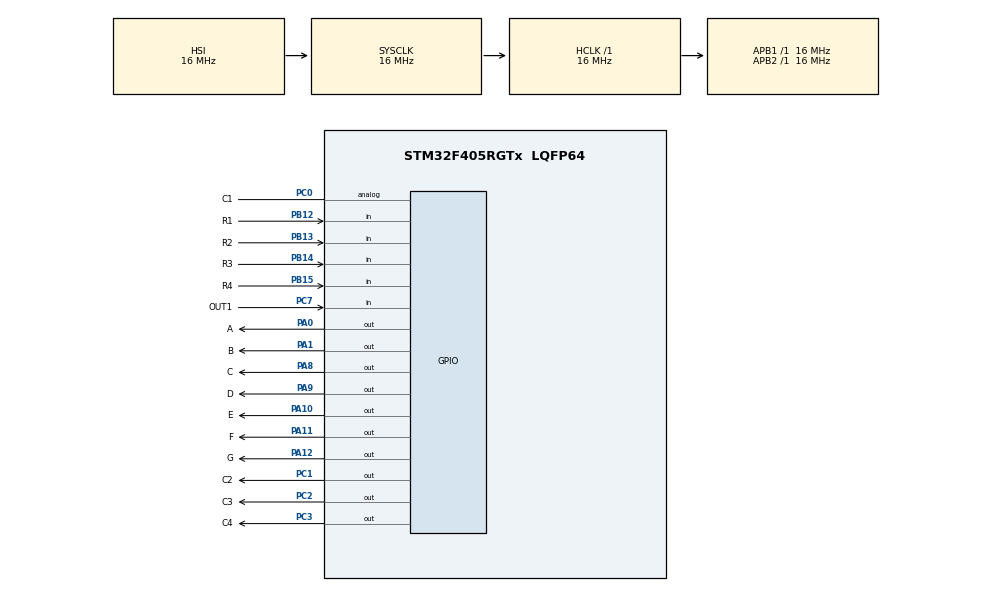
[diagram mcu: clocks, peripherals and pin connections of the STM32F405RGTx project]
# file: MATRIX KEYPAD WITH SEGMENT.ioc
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Mcu.Family=STM32F4
Mcu.Name=STM32F405RGTx
Mcu.Package=LQFP64
NVIC.PriorityGroup=NVIC_PRIORITYGROUP_4
PA0-WKUP.GPIO_Label=A
PA0-WKUP.Signal=GPIO_Output
PA1.GPIO_Label=B
PA1.Signal=GPIO_Output
PA10.GPIO_Label=E
PA10.Signal=GPIO_Output
PA11.GPIO_Label=F
PA11.Signal=GPIO_Output
PA12.GPIO_Label=G
PA12.Signal=GPIO_Output
PA13.Mode=Serial_Wire
PA13.Signal=SYS_JTMS-SWDIO
PA14.Mode=Serial_Wire
PA14.Signal=SYS_JTCK-SWCLK
PA8.GPIO_Label=C
PA8.Signal=GPIO_Output
PA9.GPIO_Label=D
PA9.Signal=GPIO_Output
PB12.GPIO_Label=R1
PB12.Signal=GPIO_Input
PB13.GPIO_Label=R2
PB13.Signal=GPIO_Input
PB14.GPIO_Label=R3
PB14.Signal=GPIO_Input
PB15.GPIO_Label=R4
PB15.Signal=GPIO_Input
PC0.GPIO_Label=C1
PC0.Signal=GPIO_Analog
PC1.GPIO_Label=C2
PC1.Signal=GPIO_Output
PC14-OSC32_IN.Mode=LSE-External-Oscillator
PC14-OSC32_IN.Signal=RCC_OSC32_IN
PC15-OSC32_OUT.Mode=LSE-External-Oscillator
PC15-OSC32_OUT.Signal=RCC_OSC32_OUT
PC2.GPIO_Label=C3
PC2.Signal=GPIO_Output
PC3.GPIO_Label=C4
PC3.Signal=GPIO_Output
PC7.GPIO_Label=OUT1
PC7.Signal=GPIO_Input
PH0-OSC_IN.Mode=HSE-External-Oscillator
PH0-OSC_IN.Signal=RCC_OSC_IN
PH1-OSC_OUT.Mode=HSE-External-Oscillator
PH1-OSC_OUT.Signal=RCC_OSC_OUT
ProjectManager.HeapSize=0x200
ProjectManager.StackSize=0x400
ProjectManager.TargetToolchain=STM32CubeIDE
RCC.AHBFreq_Value=16000000
RCC.APB1Freq_Value=16000000
RCC.APB2Freq_Value=16000000
RCC.CortexFreq_Value=16000000
RCC.HSE_VALUE=25000000
RCC.HSI_VALUE=16000000
RCC.SYSCLKFreq_VALUE=16000000
RCC.VCOOutputFreq_Value=192000000
board=custom

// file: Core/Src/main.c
/* USER CODE BEGIN Header */
/**
  ******************************************************************************
  * @file           : main.c
  * @brief          : Main program body
  ******************************************************************************
  * @attention
  *
  * Copyright (c) 2023 STMicroelectronics.
  * All rights reserved.
  *
  * This software is licensed under terms that can be found in the LICENSE file
  * in the root directory of this software component.
  * If no LICENSE file comes with this software, it is provided AS-IS.
  *
  ******************************************************************************
  */
/* USER CODE END Header */
#include "main.h"

void SystemClock_Config(void);
static void MX_GPIO_Init(void);

int main(void)
{
  /* USER CODE BEGIN 1 */
	int seg[]={0X003F,0X0006,0X005B,0X004F,0X0066,0X006D,0X007C,0X0007,0X007F,0X006F};
  /* USER CODE END 1 */

  /* MCU Configuration--------------------------------------------------------*/

  /* Reset of all peripherals, Initializes the Flash interface and the Systick. */
  HAL_Init();

  /* Configure the system clock */
  SystemClock_Config();

  /* Initialize all configured peripherals */
  MX_GPIO_Init();

  /* Infinite loop */
  /* USER CODE BEGIN WHILE */
  while (1)
  {
	          HAL_GPIO_WritePin(GPIOC, C1_Pin, GPIO_PIN_RESET);
	 	  	  HAL_GPIO_WritePin(GPIOC, C2_Pin, GPIO_PIN_SET);
	 	  	  HAL_GPIO_WritePin (GPIOC, C3_Pin, GPIO_PIN_SET);
	 	  	  HAL_GPIO_WritePin (GPIOC, C4_Pin, GPIO_PIN_SET);
	 	  	if (!(HAL_GPIO_ReadPin (GPIOB, R1_Pin)))
	 	  	{
	 	  		while (!(HAL_GPIO_ReadPin (GPIOB, R1_Pin)));
	 	  		GPIOA->ODR = seg[1];
	 	  	}
	         if (!(HAL_GPIO_ReadPin (GPIOB,R2_Pin)))
	 	    {
	 	      	  	while (!(HAL_GPIO_ReadPin (GPIOB,R2_Pin)));
	 	      	  GPIOA->ODR = seg[2];
	 	      	    }
	 	    if (!(HAL_GPIO_ReadPin (GPIOB, R3_Pin)))
	 	    {
	 	    	  	while (!(HAL_GPIO_ReadPin (GPIOB,R3_Pin)));
	 	     	  	GPIOA->ODR = seg[3];
	 	    }
	 	    if (!(HAL_GPIO_ReadPin (GPIOB, R4_Pin)))
	 	    {
	 	    	   while (!(HAL_GPIO_ReadPin (GPIOB, R4_Pin)));
	 	    	   GPIOA->ODR = seg[4];
	 	     }

	 	   HAL_GPIO_WritePin(GPIOC, C1_Pin, GPIO_PIN_SET);
	 	   HAL_GPIO_WritePin(GPIOC, C2_Pin, GPIO_PIN_SET);
     	   HAL_GPIO_WritePin (GPIOC, C3_Pin, GPIO_PIN_SET);
	 	   HAL_GPIO_WritePin (GPIOC, C4_Pin, GPIO_PIN_SET);

    /* USER CODE END WHILE */

  }
}

void SystemClock_Config(void)
{
  RCC_OscInitTypeDef RCC_OscInitStruct = {0};
  RCC_ClkInitTypeDef RCC_ClkInitStruct = {0};

  /** Configure the main internal regulator output voltage
  */
  __HAL_RCC_PWR_CLK_ENABLE();
  __HAL_PWR_VOLTAGESCALING_CONFIG(PWR_REGULATOR_VOLTAGE_SCALE1);

  /** Initializes the RCC Oscillators according to the specified parameters
  * in the RCC_OscInitTypeDef structure.
  */
  RCC_OscInitStruct.OscillatorType = RCC_OSCILLATORTYPE_HSI;
  RCC_OscInitStruct.HSIState = RCC_HSI_ON;
  RCC_OscInitStruct.HSICalibrationValue = RCC_HSICALIBRATION_DEFAULT;
  RCC_OscInitStruct.PLL.PLLState = RCC_PLL_NONE;
  if (HAL_RCC_OscConfig(&RCC_OscInitStruct) != HAL_OK)
  {
    Error_Handler();
  }

  /** Initializes the CPU, AHB and APB buses clocks
  */
  RCC_ClkInitStruct.ClockType = RCC_CLOCKTYPE_HCLK|RCC_CLOCKTYPE_SYSCLK
                              |RCC_CLOCKTYPE_PCLK1|RCC_CLOCKTYPE_PCLK2;
  RCC_ClkInitStruct.SYSCLKSource = RCC_SYSCLKSOURCE_HSI;
  RCC_ClkInitStruct.AHBCLKDivider = RCC_SYSCLK_DIV1;
  RCC_ClkInitStruct.APB1CLKDivider = RCC_HCLK_DIV1;
  RCC_ClkInitStruct.APB2CLKDivider = RCC_HCLK_DIV1;

  if (HAL_RCC_ClockConfig(&RCC_ClkInitStruct, FLASH_LATENCY_0) != HAL_OK)
  {
    Error_Handler();
  }
}

static void MX_GPIO_Init(void)
{
  GPIO_InitTypeDef GPIO_InitStruct = {0};

  /* GPIO Ports Clock Enable */
  __HAL_RCC_GPIOC_CLK_ENABLE();
  __HAL_RCC_GPIOH_CLK_ENABLE();
  __HAL_RCC_GPIOA_CLK_ENABLE();
  __HAL_RCC_GPIOB_CLK_ENABLE();

  /*Configure GPIO pin Output Level */
  HAL_GPIO_WritePin(GPIOC, C2_Pin|C3_Pin|C4_Pin, GPIO_PIN_RESET);

  /*Configure GPIO pin Output Level */
  HAL_GPIO_WritePin(GPIOA, A_Pin|B_Pin|C_Pin|D_Pin
                          |E_Pin|F_Pin|G_Pin, GPIO_PIN_RESET);

  /*Configure GPIO pin : C1_Pin */
  GPIO_InitStruct.Pin = C1_Pin;
  GPIO_InitStruct.Mode = GPIO_MODE_ANALOG;
  GPIO_InitStruct.Pull = GPIO_NOPULL;
  HAL_GPIO_Init(C1_GPIO_Port, &GPIO_InitStruct);

  /*Configure GPIO pins : C2_Pin C3_Pin C4_Pin */
  GPIO_InitStruct.Pin = C2_Pin|C3_Pin|C4_Pin;
  GPIO_InitStruct.Mode = GPIO_MODE_OUTPUT_PP;
  GPIO_InitStruct.Pull = GPIO_NOPULL;
  GPIO_InitStruct.Speed = GPIO_SPEED_FREQ_LOW;
  HAL_GPIO_Init(GPIOC, &GPIO_InitStruct);

  /*Configure GPIO pins : A_Pin B_Pin C_Pin D_Pin
                           E_Pin F_Pin G_Pin */
  GPIO_InitStruct.Pin = A_Pin|B_Pin|C_Pin|D_Pin
                          |E_Pin|F_Pin|G_Pin;
  GPIO_InitStruct.Mode = GPIO_MODE_OUTPUT_PP;
  GPIO_InitStruct.Pull = GPIO_NOPULL;
  GPIO_InitStruct.Speed = GPIO_SPEED_FREQ_LOW;
  HAL_GPIO_Init(GPIOA, &GPIO_InitStruct);

  /*Configure GPIO pins : R1_Pin R2_Pin R3_Pin R4_Pin */
  GPIO_InitStruct.Pin = R1_Pin|R2_Pin|R3_Pin|R4_Pin;
  GPIO_InitStruct.Mode = GPIO_MODE_INPUT;
  GPIO_InitStruct.Pull = GPIO_NOPULL;
  HAL_GPIO_Init(GPIOB, &GPIO_InitStruct);

  /*Configure GPIO pin : PC7 */
  GPIO_InitStruct.Pin = GPIO_PIN_7;
  GPIO_InitStruct.Mode = GPIO_MODE_INPUT;
  GPIO_InitStruct.Pull = GPIO_NOPULL;
  HAL_GPIO_Init(GPIOC, &GPIO_InitStruct);

}

void Error_Handler(void)
{
  __disable_irq();
  while (1)
  {
  }
}
